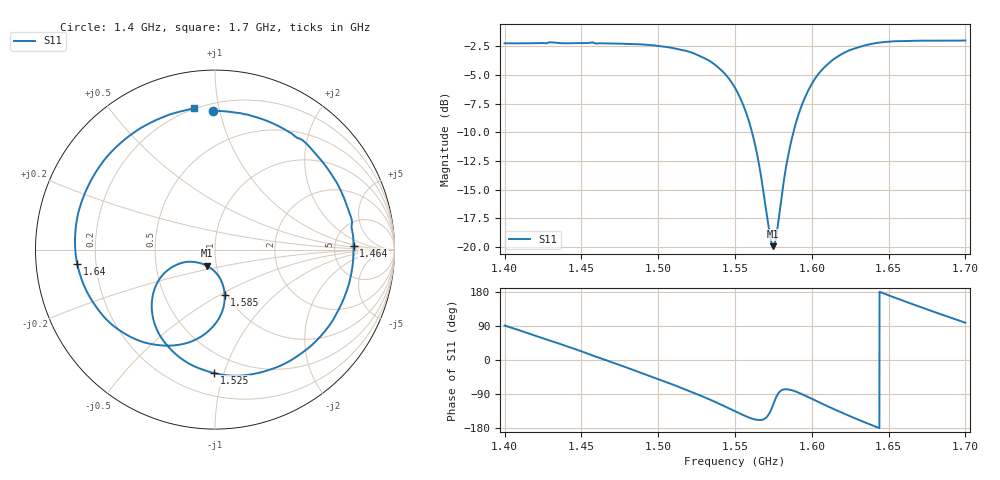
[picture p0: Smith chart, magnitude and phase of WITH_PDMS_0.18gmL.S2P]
!Keysight Technologies,E5063A,MY54503975,A.05.08
!Date: Fri Mar 07 05:06:04 2025
!Data & Calibration Information:
!Freq	S11:NONE(--)	S21:RESPT(ON)	S12:NONE(--)	S22:NONE(--)
# Hz S RI R 50
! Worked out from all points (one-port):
!   3001 points, 1.4 GHz to 1.7 GHz, reference 50 ohm
!   lowest |S11| = -19.9 dB at 1.575 GHz (marker M1), VSWR 1.22, Z = 44.9 - j8.14 ohm
!   |S11| at or under -10 dB: 1.561 GHz to 1.588 GHz (26.91 MHz wide, 1.71 % of centre)
!   S11 on the Smith chart (normalised r, x): 1.4 GHz: 0.25, +0.95; 1.464 GHz: 7.68, +0.86; 1.525 GHz: 0.35, -0.93; 1.585 GHz: 0.97, -0.53; 1.64 GHz: 0.13, -0.05; 1.7 GHz: 0.20, +0.85
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1.4e9  -0.0132 0.7728  -0 -0  0 0  0 0
1.4241e9  0.4056 0.6589  0 -0  0 0  0 0
1.45e9  0.713 0.3016  -0 0  0 0  0 0
1.4645e9  0.7719 0.0226  -0 0  0 0  0 0
1.482e9  0.7033 -0.3064  -0 0  0 0  0 0
1.5e9  0.4812 -0.5779  0 -0  0 0  0 0
1.5136e9  0.2336 -0.6891  0 0  0 0  0 0
1.5254e9  -0.006 -0.6878  0 0  0 0  0 0
1.5369e9  -0.2161 -0.5849  0 0  0 0  0 0
1.55e9  -0.3508 -0.3478  0 -0  0 0  0 0
1.5619e9  -0.2746 -0.1238  0 0  0 0  0 0
1.5749e9  -0.0459 -0.0897  0 0  0 0  0 0
1.5851e9  0.0539 -0.254  0 0  0 0  0 0
1.5919e9  0.0196 -0.3874  0 0  0 0  0 0
1.6e9  -0.1097 -0.5024  0 -0  0 0  0 0
1.6082e9  -0.2877 -0.5346  0 -0  0 0  0 0
1.6173e9  -0.4803 -0.4811  -0 0  0 0  0 0
1.629e9  -0.67 -0.3078  -0 0  0 0  0 0
1.6404e9  -0.7676 -0.0797  -0 -0  0 0  0 0
1.65e9  -0.7753 0.1268  -0 -0  0 0  0 0
1.676e9  -0.5327 0.5878  -0 -0  0 0  0 0
1.7e9  -0.1145 0.7868  -0 -0  0 0  0 0
